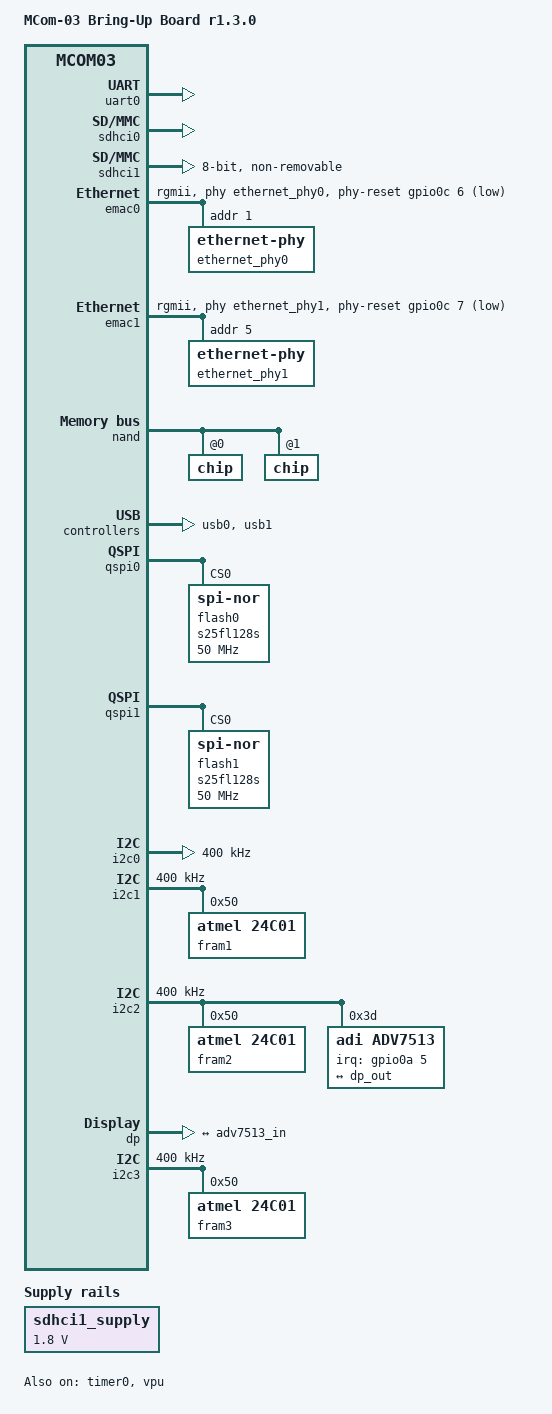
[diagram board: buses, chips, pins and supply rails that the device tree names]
// SPDX-License-Identifier: GPL-2.0+
/*
 * Copyright 2021 RnD Center "ELVEES", JSC
 */

/dts-v1/;

#include <dt-bindings/gpio/gpio.h>

#include "mcom03.dtsi"

/ {
	model = "MCom-03 Bring-Up Board r1.3.0";
	compatible = "elvees,mcom03-bub-r1.3.0",
		     "elvees,mcom03-bub",
		     "elvees,mcom03";

	aliases {
		mmc0 = &sdhci1;
		mmc1 = &sdhci0;
	};

	adv7513_cec_clk: adv7513_cec_clk {
		#clock-cells = <0>;
		compatible = "fixed-clock";
		clock-frequency = <12000000>;
	};

	chosen {
		stdout-path = "serial0:115200n8";
		bootargs = "earlycon console=ttyS0,115200";
	};

	reserved_memory: reserved-memory {
		#address-cells = <2>;
		#size-cells = <2>;
		ranges;

		cpu_reserved: cpu_reserved@C0000000 {
			reg = <0 0xC0080000 0 0x1000>;
			no-map;
		};
	};

	sdhci1_supply: regulator@0 {
		compatible = "regulator-fixed";
		regulator-name = "sdhci1-supply";
		regulator-min-microvolt = <1800000>;
		regulator-max-microvolt = <1800000>;
		regulator-always-on;
	};
};

&uart0 {
	status = "okay";
	clock-frequency = <27920454>;
};

&sdhci0 {
	status = "okay";

	/* Disable High Speed support
	 * Disable 1.8V support
	 * Disable SDR50, SDR104 and DDR50 support
	 */
	sdhci-caps-mask = <0x7 0x4200000>;
	sdhci-caps = <0x0 0x0>;
};

&sdhci1 {
	status = "okay";
	non-removable;
	bus-width = <8>;
	vqmmc-supply = <&sdhci1_supply>;
};

&timer0 {
	status = "okay";
};

&emac0 {
	#address-cells = <1>;
	#size-cells = <0>;
	status = "okay";
	phy-mode = "rgmii";
	phy-handle = <&ethernet_phy0>;
	phy-reset-gpios = <&gpio0c 6 GPIO_ACTIVE_LOW>;

	ethernet_phy0: ethernet-phy@1 {
		reg = <0x1>;
		txc-skew-ps = <1860>;
	};
};

&emac1 {
	#address-cells = <1>;
	#size-cells = <0>;
	status = "okay";
	phy-mode = "rgmii";
	phy-handle = <&ethernet_phy1>;
	phy-reset-gpios = <&gpio0c 7 GPIO_ACTIVE_LOW>;

	ethernet_phy1: ethernet-phy@5 {
		reg = <0x5>;
		txc-skew-ps = <1860>;
	};
};

&nand {
	status = "okay";
	chip@0 {
		reg = <0>;
		nand-ecc-mode = "hw";
	};
	chip@1 {
		reg = <1>;
		nand-ecc-mode = "hw";
	};
};

&usb0 {
	status = "okay";
};

&usb1 {
	status = "okay";
};

&qspi0 {
	status = "okay";

	flash0: s25fl128s@0 {
		#address-cells = <1>;
		#size-cells = <1>;
		compatible = "jedec,spi-nor", "spi-flash";
		reg = <0x0>;
		/* This is the highest frequency at which all commands are
		 * supported by the flash device.
		 */
		spi-max-frequency = <50000000>;

		spi-tx-bus-width = <4>;
		spi-rx-bus-width = <4>;
	};
};

&qspi1 {
	status = "okay";

	flash1: s25fl128s@1 {
		#address-cells = <1>;
		#size-cells = <1>;
		compatible = "jedec,spi-nor", "spi-flash";
		reg = <0x0>;
		/* This is the highest frequency at which all commands are
		 * supported by the flash device.
		 */
		spi-max-frequency = <50000000>;
	};
};

&i2c0 {
	clock-frequency = <400000>;
	status = "okay";
};

&i2c1 {
	clock-frequency = <400000>;
	status = "okay";

	fram1: fram1@50 {
		#address-cells = <1>;
		#size-cells = <0>;
		compatible = "atmel,24c01";
		reg = <0x50>;
	};
};

&i2c2 {
	clock-frequency = <400000>;
	status = "okay";

	fram2: fram2@50 {
		#address-cells = <1>;
		#size-cells = <0>;
		compatible = "atmel,24c01";
		reg = <0x50>;
	};

	adv7513: hdmi@3d {
		compatible = "adi,adv7513";
		reg = <0x3d>, <0x3f>;
		reg-names = "main", "edid";
		interrupt-parent = <&gpio0a>;
		interrupts = <5 IRQ_TYPE_EDGE_FALLING>;
		clocks = <&adv7513_cec_clk>;
		clock-names = "cec";
		adi,input-depth = <8>;
		adi,input-colorspace = "rgb";
		adi,input-clock = "1x";
		#address-cells = <1>;
		#size-cells = <0>;

		port@0 {
			reg = <0>;
			adv7513_in: endpoint {
				remote-endpoint = <&dp_out>;
			};
		};
	};
};

&dp {
	status = "okay";
	port {
		dp_out: endpoint {
			remote-endpoint = <&adv7513_in>;
		};
	};
};

&i2c3 {
	clock-frequency = <400000>;
	status = "okay";

	fram3: fram3@50 {
		#address-cells = <1>;
		#size-cells = <0>;
		compatible = "atmel,24c01";
		reg = <0x50>;
	};
};

&vpu {
	status = "okay";
};
